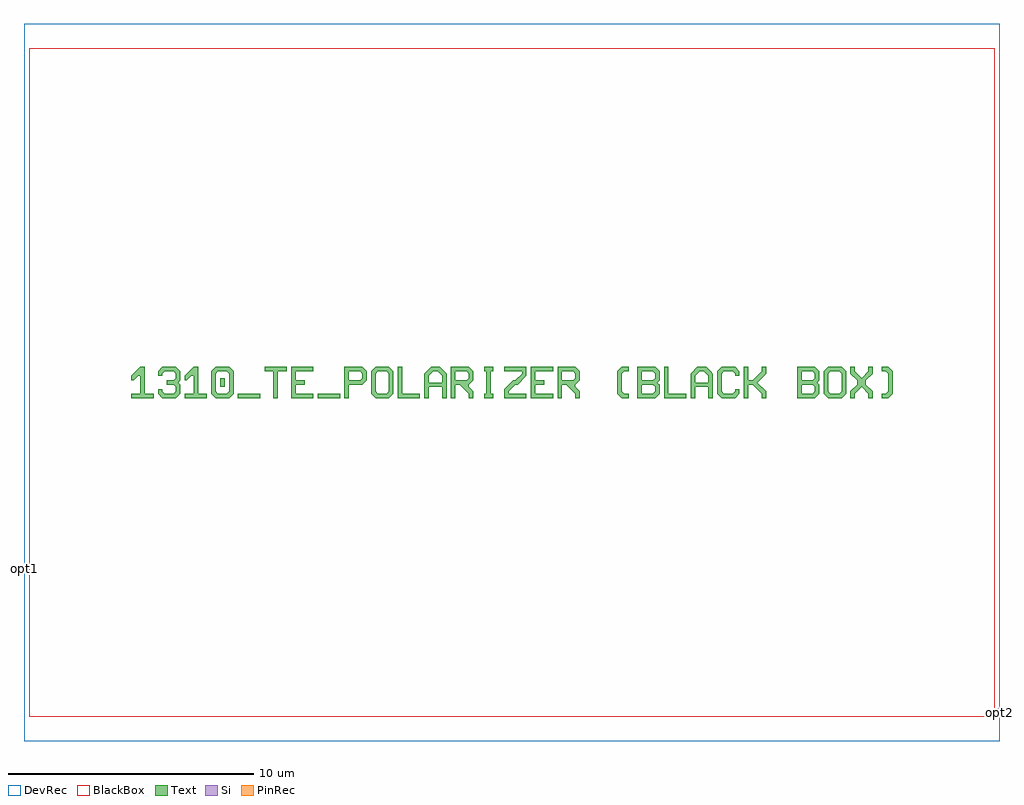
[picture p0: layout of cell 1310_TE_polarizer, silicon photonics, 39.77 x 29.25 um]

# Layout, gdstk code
import gdstk
lib = gdstk.Library(unit=1e-6, precision=1e-09)
def R(c, l, rs):  # rectangles x0, y0, x1, y1
    for r in rs: c.add(gdstk.rectangle(r[:2], r[2:], *l))
def P(c, l, *ps):  # polygons
    for p in ps: c.add(gdstk.Polygon(p, *l))
Si = (1, 0)
PinRec = (1, 10)
Text = (10, 0)
DevRec = (68, 0)
BlackBox = (998, 0)

text = lib.new_cell('TEXT')
R(text, Text, [(4.34,0,5.245,0.181), (7.595,0,8.5,0.181), (3.617,0.452,3.798,0.814)])
P(text, Text, [(0,0),(0,0.181),(0.362,0.181),(0.362,0.905),(0.271,0.905),(0.09,0.724),(0,0.724),(0,0.905),(0.362,1.266),(0.543,1.266),(0.543,0.181),(0.905,0.181),(0.905,0)],
  [(1.266,0),(1.085,0.181),(1.085,0.362),(1.266,0.362),(1.266,0.271),(1.356,0.181),(1.718,0.181),(1.809,0.271),(1.809,0.452),(1.718,0.543),(1.447,0.543),(1.447,0.724),(1.718,0.724),(1.809,0.814),(1.809,0.995),(1.718,1.085),(1.356,1.085),(1.266,0.995),(1.266,0.905),(1.085,0.905),(1.085,1.085),(1.266,1.266),(1.809,1.266),(1.99,1.085),(1.99,0.724),(1.899,0.633),(1.99,0.543),(1.99,0.181),(1.809,0)],
  [(2.17,0),(2.17,0.181),(2.532,0.181),(2.532,0.905),(2.441,0.905),(2.26,0.724),(2.17,0.724),(2.17,0.905),(2.532,1.266),(2.713,1.266),(2.713,0.181),(3.075,0.181),(3.075,0)],
  [(3.436,0),(3.255,0.181),(3.255,1.085),(3.436,1.266),(3.979,1.266),(4.16,1.085),(3.526,1.085),(3.436,0.995),(3.436,0.271),(3.526,0.181),(3.888,0.181),(3.979,0.271),(3.979,0.995),(3.888,1.085),(4.16,1.085),(4.16,0.181),(3.979,0)],
  [(5.787,0),(5.787,1.085),(5.425,1.085),(5.425,1.266),(6.33,1.266),(6.33,1.085),(5.968,1.085),(5.968,0)],
  [(6.51,0),(6.51,1.266),(7.415,1.266),(7.415,1.085),(6.691,1.085),(6.691,0.724),(7.053,0.724),(7.053,0.543),(6.691,0.543),(6.691,0.181),(7.415,0.181),(7.415,0)],
  [(8.68,0),(8.68,1.266),(9.404,1.266),(9.585,1.085),(9.585,0.724),(9.404,0.543),(8.861,0.543),(8.861,0.724),(9.313,0.724),(9.404,0.814),(9.404,0.995),(9.313,1.085),(8.861,1.085),(8.861,0)],
  [(9.946,0),(9.765,0.181),(9.765,1.085),(9.946,1.266),(10.489,1.266),(10.67,1.085),(10.67,0.633),(10.489,0.633),(10.489,0.995),(10.398,1.085),(10.036,1.085),(9.946,0.995),(9.946,0.271),(10.036,0.181),(10.398,0.181),(10.489,0.271),(10.489,0.633),(10.67,0.633),(10.67,0.181),(10.489,0)],
  [(10.85,0),(10.85,1.266),(11.031,1.266),(11.031,0.181),(11.755,0.181),(11.755,0)],
  [(11.935,0),(11.935,0.995),(12.206,1.266),(12.568,1.266),(12.749,1.085),(12.297,1.085),(12.116,0.905),(12.116,0.633),(12.659,0.633),(12.659,0.905),(12.478,1.085),(12.749,1.085),(12.84,0.995),(12.84,0),(12.659,0),(12.659,0.452),(12.116,0.452),(12.116,0)],
  [(13.02,0),(13.02,1.266),(13.744,1.266),(13.925,1.085),(13.201,1.085),(13.201,0.724),(13.653,0.724),(13.744,0.814),(13.744,0.995),(13.653,1.085),(13.925,1.085),(13.925,0.724),(13.744,0.543),(13.744,0.452),(13.925,0.271),(13.925,0),(13.744,0),(13.744,0.181),(13.382,0.543),(13.201,0.543),(13.201,0)],
  [(14.376,0),(14.376,0.181),(14.467,0.181),(14.467,1.085),(14.376,1.085),(14.376,1.266),(14.738,1.266),(14.738,1.085),(14.648,1.085),(14.648,0.181),(14.738,0.181),(14.738,0)],
  [(15.19,0),(15.19,0.362),(15.552,0.724),(15.642,0.724),(15.914,0.995),(15.914,1.085),(15.19,1.085),(15.19,1.266),(16.095,1.266),(16.095,0.905),(15.733,0.543),(15.642,0.543),(15.371,0.271),(15.371,0.181),(16.095,0.181),(16.095,0)],
  [(16.275,0),(16.275,1.266),(17.18,1.266),(17.18,1.085),(16.456,1.085),(16.456,0.724),(16.818,0.724),(16.818,0.543),(16.456,0.543),(16.456,0.181),(17.18,0.181),(17.18,0)],
  [(17.36,0),(17.36,1.266),(18.084,1.266),(18.265,1.085),(17.541,1.085),(17.541,0.724),(17.993,0.724),(18.084,0.814),(18.084,0.995),(17.993,1.085),(18.265,1.085),(18.265,0.724),(18.084,0.543),(18.084,0.452),(18.265,0.271),(18.265,0),(18.084,0),(18.084,0.181),(17.722,0.543),(17.541,0.543),(17.541,0)],
  [(19.982,0),(19.801,0.181),(19.801,1.085),(19.982,1.266),(20.254,1.266),(20.254,1.085),(20.073,1.085),(19.982,0.995),(19.982,0.271),(20.073,0.181),(20.254,0.181),(20.254,0)],
  [(20.615,0),(20.615,1.266),(21.339,1.266),(21.52,1.085),(20.796,1.085),(20.796,0.724),(21.248,0.724),(21.339,0.814),(21.339,0.995),(21.248,1.085),(21.52,1.085),(21.52,0.724),(21.429,0.633),(21.52,0.543),(20.796,0.543),(20.796,0.181),(21.248,0.181),(21.339,0.271),(21.339,0.452),(21.248,0.543),(21.52,0.543),(21.52,0.181),(21.339,0)],
  [(21.7,0),(21.7,1.266),(21.881,1.266),(21.881,0.181),(22.605,0.181),(22.605,0)],
  [(22.785,0),(22.785,0.995),(23.056,1.266),(23.418,1.266),(23.599,1.085),(23.147,1.085),(22.966,0.905),(22.966,0.633),(23.509,0.633),(23.509,0.905),(23.328,1.085),(23.599,1.085),(23.69,0.995),(23.69,0),(23.509,0),(23.509,0.452),(22.966,0.452),(22.966,0)],
  [(24.051,0),(23.87,0.181),(23.87,1.085),(24.051,1.266),(24.594,1.266),(24.775,1.085),(24.775,0.905),(24.594,0.905),(24.594,0.995),(24.503,1.085),(24.141,1.085),(24.051,0.995),(24.051,0.271),(24.141,0.181),(24.503,0.181),(24.594,0.271),(24.594,0.362),(24.775,0.362),(24.775,0.181),(24.594,0)],
  [(24.955,0),(24.955,1.266),(25.136,1.266),(25.136,0.724),(25.317,0.724),(25.679,1.085),(25.679,1.266),(25.86,1.266),(25.86,0.995),(25.498,0.633),(25.86,0.271),(25.86,0),(25.679,0),(25.679,0.181),(25.317,0.543),(25.136,0.543),(25.136,0)],
  [(27.125,0),(27.125,1.266),(27.849,1.266),(28.03,1.085),(27.306,1.085),(27.306,0.724),(27.758,0.724),(27.849,0.814),(27.849,0.995),(27.758,1.085),(28.03,1.085),(28.03,0.724),(27.939,0.633),(28.03,0.543),(27.306,0.543),(27.306,0.181),(27.758,0.181),(27.849,0.271),(27.849,0.452),(27.758,0.543),(28.03,0.543),(28.03,0.181),(27.849,0)],
  [(28.391,0),(28.21,0.181),(28.21,1.085),(28.391,1.266),(28.934,1.266),(29.115,1.085),(29.115,0.633),(28.934,0.633),(28.934,0.995),(28.843,1.085),(28.481,1.085),(28.391,0.995),(28.391,0.271),(28.481,0.181),(28.843,0.181),(28.934,0.271),(28.934,0.633),(29.115,0.633),(29.115,0.181),(28.934,0)],
  [(29.295,0),(29.295,0.271),(29.566,0.543),(29.566,0.724),(29.295,0.995),(29.295,1.266),(29.476,1.266),(29.476,1.085),(29.747,0.814),(30.019,1.085),(30.019,1.266),(30.2,1.266),(30.2,0.995),(29.928,0.724),(29.928,0.543),(30.2,0.271),(30.2,0),(30.019,0),(30.019,0.181),(29.747,0.452),(29.476,0.181),(29.476,0)],
  [(30.561,0),(30.561,0.181),(30.742,0.181),(30.832,0.271),(30.832,0.995),(30.742,1.085),(30.561,1.085),(30.561,1.266),(30.832,1.266),(31.013,1.085),(31.013,0.181),(30.832,0)])

c_1310_te_polarizer = lib.new_cell('1310_TE_polarizer')
R(c_1310_te_polarizer, Si, [(29.546,-6.033,29.746,-5.683), (-10,-0.175,-9.8,0.175)])
R(c_1310_te_polarizer, DevRec, [(-10,-7.033,29.746,22.216)])
R(c_1310_te_polarizer, BlackBox, [(-9.8,-6.033,29.546,21.216)])
c_1310_te_polarizer.add(gdstk.FlexPath([(-9.99,0),(-10.01,0)], 0.35, ends="flush", simple_path=True, layer=1, datatype=10))  # PinRec
c_1310_te_polarizer.add(gdstk.FlexPath([(29.736,-5.858),(29.756,-5.858)], 0.35, ends="flush", simple_path=True, layer=1, datatype=10))  # PinRec
c_1310_te_polarizer.add(gdstk.Reference(text, (-5.633,6.958)))
c_1310_te_polarizer.add(gdstk.Label('opt1', (-10,0), layer=1, texttype=10))
c_1310_te_polarizer.add(gdstk.Label('opt2', (29.746,-5.858), layer=1, texttype=10))
c_1310_te_polarizer.add(gdstk.Label('In', (-9.55,0), layer=10, texttype=0))
c_1310_te_polarizer.add(gdstk.Label('Out', (29.296,-5.783), layer=10, texttype=0))

lib.write_gds('1310_TE_polarizer.gds')
